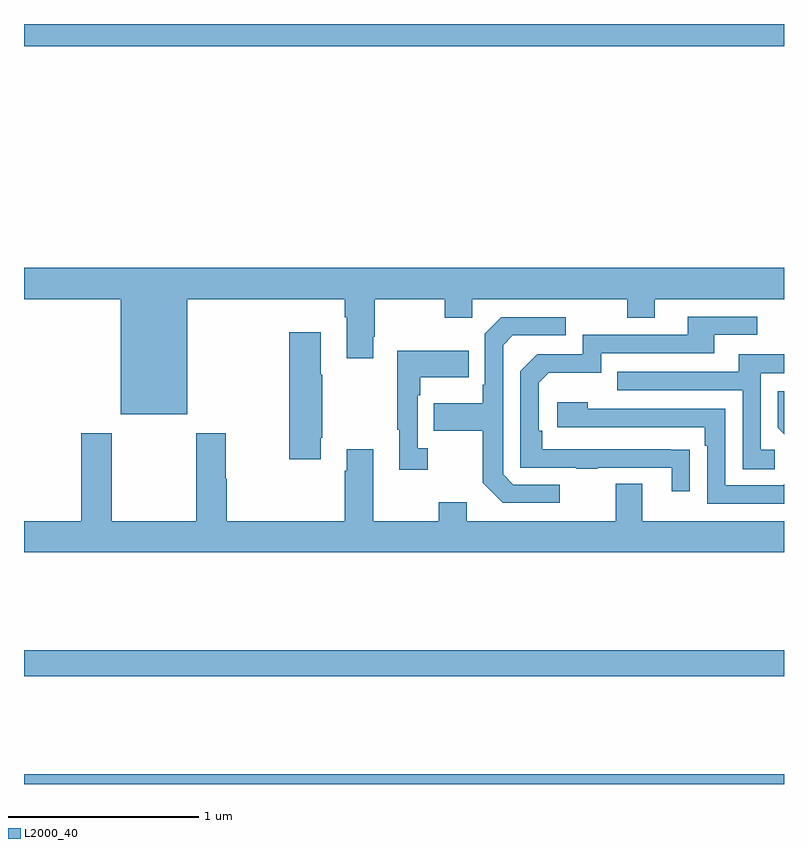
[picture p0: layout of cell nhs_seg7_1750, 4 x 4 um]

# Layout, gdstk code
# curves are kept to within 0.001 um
import gdstk
lib = gdstk.Library(unit=1e-6, precision=1e-09)
def R(c, l, rs):  # rectangles x0, y0, x1, y1
    for r in rs: c.add(gdstk.rectangle(r[:2], r[2:], *l))
def P(c, l, *ps):  # polygons
    for p in ps: c.add(gdstk.Polygon(p, *l))
L2000_40 = (2000, 40)

nhs_seg7_1750 = lib.new_cell('nhs_seg7_1750')
R(nhs_seg7_1750, L2000_40, [(229,1062,233,1062.052), (229,1062.568,233,1062.704), (229,1065.884,233,1066)])
P(nhs_seg7_1750, L2000_40, [(229.858,1064.552),(230.687,1064.552),(230.687,1064.456),(230.699,1064.456),(230.699,1064.241),(230.839,1064.241),(230.839,1064.353),(230.847,1064.353),(230.847,1064.552),(231.214,1064.552),(231.214,1064.453),(231.36,1064.453),(231.36,1064.552),(232.174,1064.552),(232.174,1064.453),(232.321,1064.453),(232.321,1064.552),(233,1064.552),(233,1064.716),(229,1064.716),(229,1064.552),(229.508,1064.552),(229.508,1063.946),(229.858,1063.946)],
  [(232.505,1063.76),(231.728,1063.761),(231.728,1063.858),(231.708,1063.858),(231.708,1064.112),(231.761,1064.165),(232.038,1064.165),(232.038,1064.268),(232.633,1064.268),(232.633,1064.364),(232.858,1064.364),(232.858,1064.46),(232.493,1064.46),(232.493,1064.364),(231.942,1064.364),(231.942,1064.262),(231.702,1064.262),(231.612,1064.172),(231.612,1063.665),(231.907,1063.665),(231.907,1063.66),(232.019,1063.66),(232.019,1063.665),(232.409,1063.665),(232.409,1063.542),(232.505,1063.542)],
  [(231.82,1063.575),(231.576,1063.575),(231.522,1063.629),(231.522,1064.31),(231.573,1064.361),(231.85,1064.361),(231.85,1064.457),(231.513,1064.457),(231.426,1064.37),(231.426,1064.101),(231.414,1064.101),(231.414,1064.005),(231.157,1064.005),(231.157,1063.858),(231.414,1063.858),(231.414,1063.585),(231.519,1063.479),(231.82,1063.479)],
  [(230.563,1063.822),(230.571,1063.822),(230.571,1064.153),(230.563,1064.153),(230.563,1064.377),(230.396,1064.377),(230.396,1063.71),(230.563,1063.71)],
  [(231.124,1063.766),(231.072,1063.766),(231.072,1064.045),(231.085,1064.045),(231.085,1064.141),(231.341,1064.141),(231.341,1064.281),(230.964,1064.281),(230.964,1063.865),(230.975,1063.865),(230.975,1063.653),(231.124,1063.653)],
  [(232.951,1063.758),(232.878,1063.758),(232.878,1064.163),(233,1064.163),(233,1064.263),(232.763,1064.263),(232.763,1064.169),(232.123,1064.169),(232.123,1064.073),(232.782,1064.073),(232.782,1063.657),(232.951,1063.657)],
  [(233,1064.068),(232.968,1064.068),(232.968,1063.874),(233,1063.842)],
  [(233,1063.577),(232.995,1063.572),(232.692,1063.572),(232.692,1063.974),(231.968,1063.974),(231.968,1064.008),(231.807,1064.008),(231.807,1063.878),(232.583,1063.878),(232.583,1063.781),(232.596,1063.781),(232.596,1063.476),(233,1063.476)],
  [(233,1063.384),(232.255,1063.384),(232.255,1063.579),(232.115,1063.579),(232.115,1063.384),(231.331,1063.384),(231.331,1063.483),(231.184,1063.483),(231.184,1063.384),(230.839,1063.384),(230.839,1063.762),(230.699,1063.762),(230.699,1063.649),(230.687,1063.649),(230.687,1063.384),(230.066,1063.384),(230.066,1063.607),(230.061,1063.607),(230.061,1063.846),(229.906,1063.846),(229.906,1063.384),(229.461,1063.384),(229.461,1063.846),(229.301,1063.846),(229.301,1063.384),(229,1063.384),(229,1063.22),(233,1063.22)])

lib.write_gds('nhs_seg7_1750.gds')
